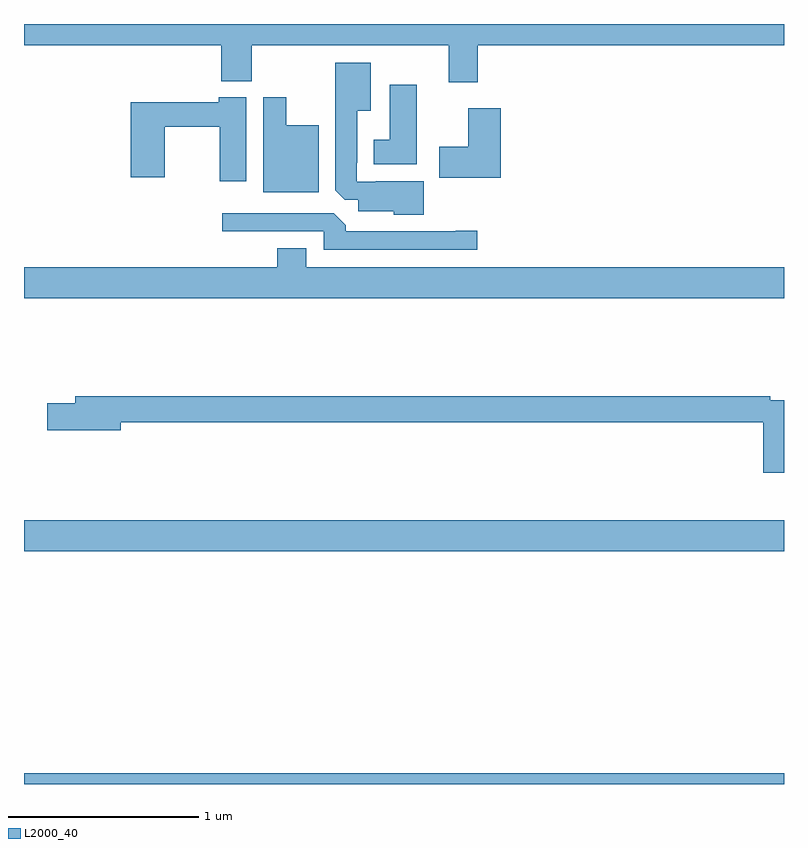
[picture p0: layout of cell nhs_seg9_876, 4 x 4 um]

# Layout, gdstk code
import gdstk
lib = gdstk.Library(unit=1e-6, precision=1e-09)
def R(c, l, rs):  # rectangles x0, y0, x1, y1
    for r in rs: c.add(gdstk.rectangle(r[:2], r[2:], *l))
def P(c, l, *ps):  # polygons
    for p in ps: c.add(gdstk.Polygon(p, *l))
L2000_40 = (2000, 40)

nhs_seg9_876 = lib.new_cell('nhs_seg9_876')
R(nhs_seg9_876, L2000_40, [(157,1224.5,161,1224.556), (157,1225.724,161,1225.888)])
P(nhs_seg9_876, L2000_40, [(159.389,1228.388),(161,1228.388),(161,1228.5),(157,1228.5),(157,1228.388),(158.039,1228.388),(158.039,1228.199),(158.199,1228.199),(158.199,1228.388),(159.236,1228.388),(159.236,1228.194),(159.389,1228.194)],
  [(159.103,1227.673),(158.851,1227.673),(158.851,1227.669),(158.751,1227.669),(158.751,1227.769),(158.755,1227.769),(158.755,1228.043),(158.824,1228.043),(158.824,1228.297),(158.639,1228.297),(158.639,1227.625),(158.688,1227.576),(158.759,1227.576),(158.759,1227.515),(158.946,1227.515),(158.946,1227.497),(159.103,1227.497)],
  [(159.067,1228.18),(158.924,1228.18),(158.924,1227.892),(158.84,1227.892),(158.84,1227.761),(159.067,1227.761)],
  [(158.17,1228.114),(158.024,1228.114),(158.024,1228.087),(157.562,1228.087),(157.562,1227.693),(157.74,1227.693),(157.74,1227.958),(158.029,1227.958),(158.029,1227.672),(158.17,1227.672)],
  [(158.551,1227.967),(158.38,1227.967),(158.38,1228.114),(158.258,1228.114),(158.258,1227.614),(158.551,1227.614)],
  [(159.508,1228.057),(159.338,1228.057),(159.338,1227.855),(159.186,1227.855),(159.186,1227.692),(159.508,1227.692)],
  [(159.385,1227.413),(159.272,1227.413),(159.272,1227.408),(158.693,1227.408),(158.693,1227.442),(158.631,1227.504),(158.043,1227.504),(158.043,1227.408),(158.577,1227.408),(158.577,1227.312),(159.385,1227.312)],
  [(161,1227.22),(158.485,1227.22),(158.485,1227.319),(158.333,1227.319),(158.333,1227.22),(157,1227.22),(157,1227.056),(161,1227.056)],
  [(161,1226.52),(160.928,1226.52),(160.928,1226.54),(157.271,1226.54),(157.271,1226.504),(157.122,1226.504),(157.122,1226.362),(157.51,1226.362),(157.51,1226.404),(160.892,1226.404),(160.892,1226.139),(161,1226.139)])

lib.write_gds('nhs_seg9_876.gds')
